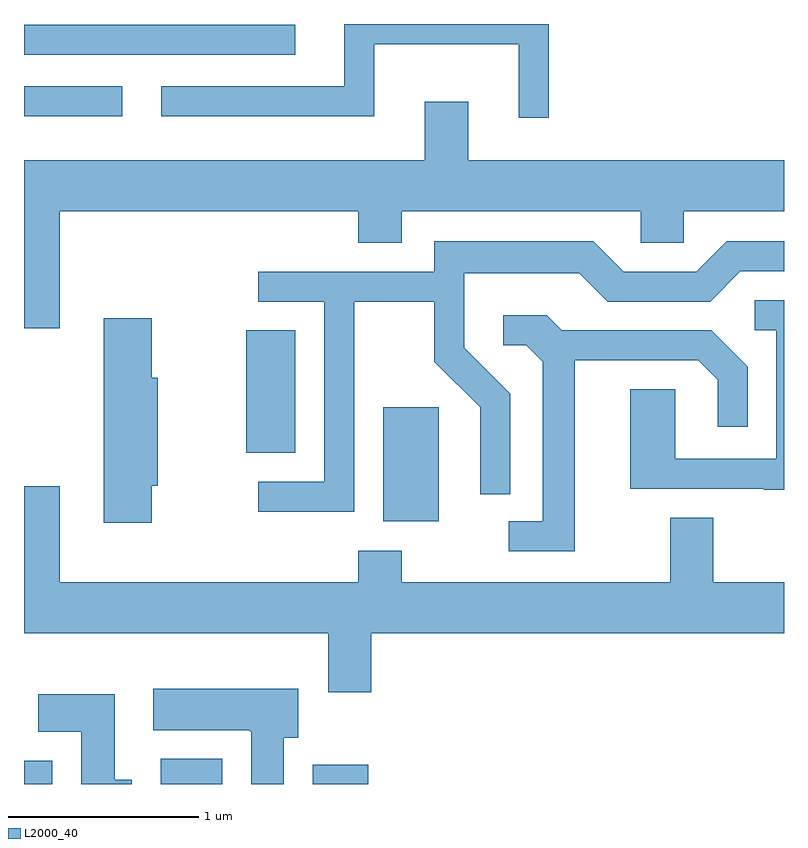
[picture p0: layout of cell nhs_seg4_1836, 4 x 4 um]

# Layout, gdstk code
import gdstk
lib = gdstk.Library(unit=1e-6, precision=1e-09)
def R(c, l, rs):  # rectangles x0, y0, x1, y1
    for r in rs: c.add(gdstk.rectangle(r[:2], r[2:], *l))
def P(c, l, *ps):  # polygons
    for p in ps: c.add(gdstk.Polygon(p, *l))
L2000_40 = (2000, 40)

nhs_seg4_1836 = lib.new_cell('nhs_seg4_1836')
R(nhs_seg4_1836, L2000_40, [(239.611,1253.982,239.759,1254.104), (240.331,1253.982,240.654,1254.114), (241.131,1253.982,241.424,1254.084), (241.501,1255.366,241.794,1255.964), (240.781,1255.726,241.039,1256.369), (239.611,1257.496,240.128,1257.654), (239.611,1257.821,241.038,1257.979)])
P(nhs_seg4_1836, L2000_40, [(242.374,1257.982),(241.296,1257.982),(241.296,1257.654),(240.333,1257.654),(240.333,1257.496),(241.454,1257.496),(241.454,1257.876),(242.216,1257.876),(242.216,1257.488),(242.374,1257.488)],
  [(239.799,1256.996),(241.371,1256.996),(241.371,1256.831),(241.599,1256.831),(241.599,1256.996),(242.856,1256.996),(242.856,1256.831),(243.084,1256.831),(243.084,1256.996),(243.611,1256.996),(243.611,1257.264),(241.949,1257.264),(241.949,1257.574),(241.721,1257.574),(241.721,1257.264),(239.611,1257.264),(239.611,1256.381),(239.799,1256.381)],
  [(241.349,1256.521),(241.771,1256.521),(241.771,1256.204),(242.011,1255.964),(242.011,1255.508),(242.169,1255.508),(242.169,1256.037),(241.929,1256.277),(241.929,1256.671),(242.534,1256.671),(242.684,1256.521),(243.222,1256.521),(243.382,1256.681),(243.611,1256.681),(243.611,1256.839),(243.309,1256.839),(243.149,1256.679),(242.767,1256.679),(242.607,1256.839),(241.771,1256.839),(241.771,1256.679),(240.843,1256.679),(240.843,1256.521),(241.191,1256.521),(241.191,1255.574),(240.843,1255.574),(240.843,1255.416),(241.349,1255.416)],
  [(243.611,1256.529),(243.458,1256.529),(243.458,1256.371),(243.571,1256.371),(243.571,1255.694),(243.039,1255.694),(243.039,1256.059),(242.801,1256.059),(242.801,1255.536),(243.505,1255.536),(243.505,1255.531),(243.611,1255.531)],
  [(242.509,1256.211),(243.159,1256.211),(243.261,1256.109),(243.261,1255.863),(243.419,1255.863),(243.419,1256.177),(243.227,1256.369),(242.442,1256.369),(242.362,1256.449),(242.133,1256.449),(242.133,1256.291),(242.254,1256.291),(242.341,1256.204),(242.341,1255.364),(242.163,1255.364),(242.163,1255.206),(242.509,1255.206)],
  [(240.284,1255.551),(240.314,1255.551),(240.314,1256.119),(240.284,1256.119),(240.284,1256.434),(240.031,1256.434),(240.031,1255.356),(240.284,1255.356)],
  [(241.439,1254.776),(243.611,1254.776),(243.611,1255.044),(243.239,1255.044),(243.239,1255.384),(243.011,1255.384),(243.011,1255.044),(241.599,1255.044),(241.599,1255.209),(241.371,1255.209),(241.371,1255.044),(239.799,1255.044),(239.799,1255.549),(239.611,1255.549),(239.611,1254.776),(241.211,1254.776),(241.211,1254.466),(241.439,1254.466)],
  [(240.979,1254.226),(241.054,1254.226),(241.054,1254.484),(240.291,1254.484),(240.291,1254.266),(240.8,1254.266),(240.8,1254.26),(240.806,1254.26),(240.806,1253.982),(240.979,1253.982)],
  [(240.179,1254.004),(240.089,1254.004),(240.089,1254.454),(239.686,1254.454),(239.686,1254.256),(239.911,1254.256),(239.911,1253.982),(240.179,1253.982)])

lib.write_gds('nhs_seg4_1836.gds')
